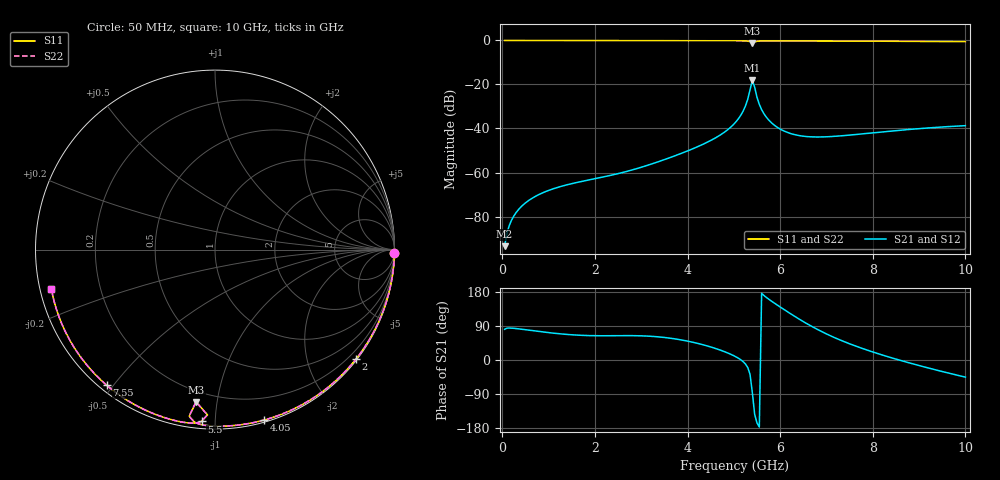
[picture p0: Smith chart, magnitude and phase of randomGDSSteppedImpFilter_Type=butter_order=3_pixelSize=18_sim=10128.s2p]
! freq	dB(S11)	phase(S11)	dB(S12)	phase(S12)
!  dB(S21)	phase(S21)	dB(S22)	phase(S22)
!S-par simulation data
#  GHz  S  DB  R 50
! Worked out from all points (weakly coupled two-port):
!   200 points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, 50 MHz to 10 GHz, reference 50 ohm
!   highest |S21| = -18.07 dB at 5.4 GHz (marker M1); lowest = -93.5 dB at 50 MHz (marker M2)
!   lowest |S11| = -1.4 dB at 5.4 GHz (marker M3), VSWR 12.83, Z = 6.91 - j43.7 ohm
!   |S11| at or under -10 dB: nowhere
!   |S22| runs from -1.4 to 0.0 dB; largest |S21 - S12| = 0
!   S11 on the Smith chart (normalised r, x): 50 MHz: open; 2 GHz: 0.03, -2.93; 4.05 GHz: 0.02, -1.33; 5.5 GHz: 0.04, -0.92; 7.55 GHz: 0.02, -0.48; 10 GHz: 0.03, -0.12
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0.05  -0.00 -1.0  -93.47 81.0  -93.47 81.0  -0.00 -1.0
0.25  -0.00 -4.8  -79.73 83.6  -79.73 83.6  -0.00 -4.8
0.5  -0.01 -9.6  -73.81 79.9  -73.81 79.9  -0.01 -9.6
0.85  -0.02 -16.3  -69.43 74.4  -69.43 74.4  -0.02 -16.3
1.75  -0.04 -33.1  -63.89 64.9  -63.89 64.9  -0.04 -33.1
2  -0.05 -37.7  -62.81 64.1  -62.81 64.1  -0.05 -37.7
3.4  -0.08 -62.7  -54.88 60.7  -54.88 60.7  -0.08 -62.8
4.05  -0.10 -73.9  -49.77 48.6  -49.77 48.6  -0.10 -73.9
4.65  -0.12 -84.0  -43.69 28.6  -43.69 28.6  -0.12 -84.1
5.05  -0.15 -91.0  -36.86 8.1  -36.86 8.1  -0.15 -91.0
5.25  -0.21 -95.2  -29.80 -10.4  -29.80 -10.4  -0.21 -95.3
5.35  -0.54 -98.8  -22.43 -38.0  -22.43 -38.0  -0.54 -98.9
5.4  -1.36 -97.1  -18.07 -86.7  -18.07 -86.7  -1.36 -97.1
5.45  -0.71 -92.6  -21.30 -143.8  -21.30 -143.8  -0.71 -92.6
5.5  -0.35 -94.5  -25.83 -166.1  -25.83 -166.1  -0.35 -94.5
5.65  -0.20 -98.4  -33.29 170.3  -33.29 170.3  -0.20 -98.5
5.9  -0.19 -102.9  -38.91 148.0  -38.91 148.0  -0.19 -103.0
6.25  -0.20 -108.6  -42.45 120.1  -42.45 120.1  -0.20 -108.7
6.7  -0.23 -115.6  -43.82 87.5  -43.82 87.5  -0.23 -115.7
7.55  -0.29 -128.6  -42.90 40.4  -42.90 40.4  -0.29 -128.7
8.35  -0.36 -140.7  -41.25 7.8  -41.25 7.8  -0.36 -140.8
10  -0.56 -166.3  -38.71 -45.2  -38.71 -45.2  -0.56 -166.4
